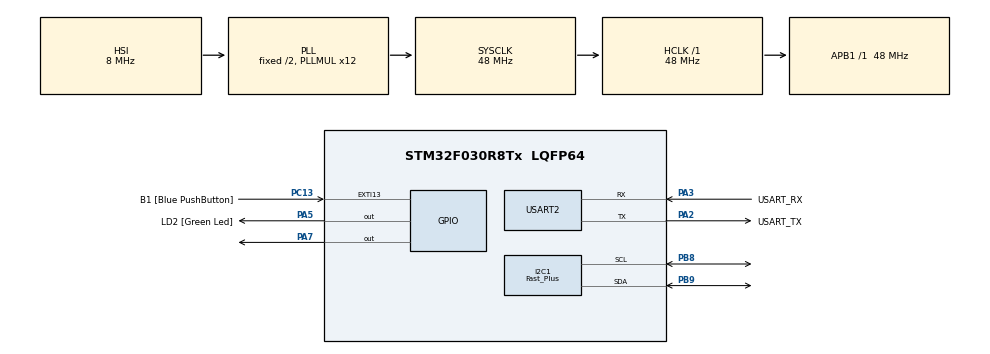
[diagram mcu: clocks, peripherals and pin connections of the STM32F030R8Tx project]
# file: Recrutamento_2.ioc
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Dma.I2C1_RX.1.Direction=DMA_PERIPH_TO_MEMORY
Dma.I2C1_RX.1.Instance=DMA1_Channel3
Dma.I2C1_RX.1.MemDataAlignment=DMA_MDATAALIGN_BYTE
Dma.I2C1_RX.1.MemInc=DMA_MINC_ENABLE
Dma.I2C1_RX.1.Mode=DMA_NORMAL
Dma.I2C1_RX.1.PeriphDataAlignment=DMA_PDATAALIGN_BYTE
Dma.I2C1_RX.1.PeriphInc=DMA_PINC_DISABLE
Dma.I2C1_RX.1.Priority=DMA_PRIORITY_LOW
Dma.Request0=USART2_TX
Dma.Request1=I2C1_RX
Dma.USART2_TX.0.Direction=DMA_MEMORY_TO_PERIPH
Dma.USART2_TX.0.Instance=DMA1_Channel4
Dma.USART2_TX.0.MemDataAlignment=DMA_MDATAALIGN_BYTE
Dma.USART2_TX.0.MemInc=DMA_MINC_ENABLE
Dma.USART2_TX.0.Mode=DMA_NORMAL
Dma.USART2_TX.0.PeriphDataAlignment=DMA_PDATAALIGN_BYTE
Dma.USART2_TX.0.PeriphInc=DMA_PINC_DISABLE
Dma.USART2_TX.0.Priority=DMA_PRIORITY_LOW
I2C1.I2C_Speed_Mode=I2C_Fast_Plus
I2C1.Timing=0x00000001
Mcu.Family=STM32F0
Mcu.Name=STM32F030R8Tx
Mcu.Package=LQFP64
NVIC.DMA1_Channel2_3_IRQn=true\:0\:0\:false\:false\:true\:false\:true\:true
NVIC.DMA1_Channel4_5_IRQn=true\:0\:0\:false\:false\:true\:false\:true\:true
PA13.GPIO_Label=TMS
PA13.Mode=Serial_Wire
PA13.Signal=SYS_SWDIO
PA14.GPIO_Label=TCK
PA14.Mode=Serial_Wire
PA14.Signal=SYS_SWCLK
PA2.GPIO_Label=USART_TX
PA2.GPIO_Mode=GPIO_MODE_AF_PP
PA2.GPIO_PuPd=GPIO_NOPULL
PA2.GPIO_Speed=GPIO_SPEED_FREQ_LOW
PA2.Mode=Asynchronous
PA2.Signal=USART2_TX
PA3.GPIO_Label=USART_RX
PA3.GPIO_Mode=GPIO_MODE_AF_PP
PA3.GPIO_PuPd=GPIO_NOPULL
PA3.GPIO_Speed=GPIO_SPEED_FREQ_LOW
PA3.Mode=Asynchronous
PA3.Signal=USART2_RX
PA5.GPIO_Label=LD2 [Green Led]
PA5.GPIO_Mode=GPIO_MODE_OUTPUT_PP
PA5.GPIO_PuPd=GPIO_NOPULL
PA5.GPIO_Speed=GPIO_SPEED_FREQ_LOW
PA5.Signal=GPIO_Output
PA7.Signal=GPIO_Output
PB8.Mode=I2C
PB8.Signal=I2C1_SCL
PB9.Mode=I2C
PB9.Signal=I2C1_SDA
PC13.GPIO_Label=B1 [Blue PushButton]
PC13.GPIO_ModeDefaultEXTI=GPIO_MODE_IT_FALLING
PC13.Signal=GPXTI13
PC14-OSC32_IN.Mode=LSE-External-Oscillator
PC14-OSC32_IN.Signal=RCC_OSC32_IN
PC15-OSC32_OUT.Mode=LSE-External-Oscillator
PC15-OSC32_OUT.Signal=RCC_OSC32_OUT
PF0-OSC_IN.Mode=HSE-External-Clock-Source
PF0-OSC_IN.Signal=RCC_OSC_IN
PF1-OSC_OUT.Signal=RCC_OSC_OUT
ProjectManager.HeapSize=0x200
ProjectManager.StackSize=0x400
ProjectManager.TargetToolchain=STM32CubeIDE
RCC.AHBFreq_Value=48000000
RCC.APB1Freq_Value=48000000
RCC.APB1TimFreq_Value=48000000
RCC.HCLKFreq_Value=48000000
RCC.PLLMUL=RCC_PLL_MUL12
RCC.SYSCLKFreq_VALUE=48000000
RCC.SYSCLKSource=RCC_SYSCLKSOURCE_PLLCLK
USART2.VirtualMode-Asynchronous=VM_ASYNC
board=NUCLEO-F030R8

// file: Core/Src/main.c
/* USER CODE BEGIN Header */
/**
  ******************************************************************************
  * @file           : main.c
  * @brief          : Main program body
  ******************************************************************************
  * @attention
  *
  * Copyright (c) 2024 STMicroelectronics.
  * All rights reserved.
  *
  * This software is licensed under terms that can be found in the LICENSE file
  * in the root directory of this software component.
  * If no LICENSE file comes with this software, it is provided AS-IS.
  *
  ******************************************************************************
  */
/* USER CODE END Header */
#include "main.h"
#include "dma.h"
#include "i2c.h"
#include "usart.h"
#include "gpio.h"

/* USER CODE BEGIN Includes */
#include "MS5607.h"
#include <string.h>
#include <stdio.h>
/* USER CODE END Includes */

/* USER CODE BEGIN PV */
extern DMA_HandleTypeDef hdma_usart2_tx;
extern DMA_HandleTypeDef hdma_i2c1_rx;
/* USER CODE END PV */

void SystemClock_Config(void);

/* USER CODE BEGIN 0 */
#ifdef __GNUC__
#define PUTCHAR_PROTOTYPE int __io_putchar(int ch)
#else
#define PUTCHAR_PROTOTYPE int fputc(int ch, FILE *f)
#endif
PUTCHAR_PROTOTYPE {
	HAL_UART_Transmit(&huart2, (uint8_t*) &ch, 1, HAL_MAX_DELAY);
	return ch;
}

void XferCpltCallback(DMA_HandleTypeDef *hdma);

/* USER CODE END 0 */

int main(void)
{

  /* MCU Configuration--------------------------------------------------------*/

  /* Reset of all peripherals, Initializes the Flash interface and the Systick. */
  HAL_Init();

  /* Configure the system clock */
  SystemClock_Config();

  /* Initialize all configured peripherals */
  MX_GPIO_Init();
  MX_DMA_Init();
  MX_USART2_UART_Init();
  MX_I2C1_Init();
  /* USER CODE BEGIN 2 */
  MS5607 BARO1 = BARO1_INIT();
  if(ms5607_init(&BARO1)==0) {
	  while(1) {
		  HAL_GPIO_TogglePin(GPIOA, GPIO_PIN_5);
		  HAL_Delay(100);
	  }
  }
  HAL_GPIO_WritePin(GPIOA, LD2_Pin|GPIO_PIN_7, GPIO_PIN_RESET);

  float p;
  float t;
  float raw_data[3] = {0, 0, 0};
  int prev_time;
  int i = 0;
  int j = 0;
  prev_time = HAL_GetTick();

  hdma_usart2_tx.XferCpltCallback=&XferCpltCallback;

  char buffer[1000] = {0};
  size_t buffer_length = 0;
  float t_initial = 0;

  char p_str[50];

  huart2.Instance->CR3 |= USART_CR3_DMAT;

  /* USER CODE END 2 */

  /* Infinite loop */
  /* USER CODE BEGIN WHILE */
  while (1)
  {
	  ms5607_prep_pressure(&BARO1, raw_data);
	  HAL_Delay(3);

	  ms5607_read_pressure(&BARO1, raw_data);
	  HAL_Delay(3);

	  ms5607_convert(&BARO1, &p, &t);

	  j++;
	  if (j == 100) {

		  if (t > t_initial + 0.5) {
			HAL_GPIO_WritePin(GPIOA, GPIO_PIN_5, GPIO_PIN_SET);
		  } else {
			HAL_GPIO_WritePin(GPIOA, GPIO_PIN_5, GPIO_PIN_RESET);
		  }
		  j = 0;
		  t_initial = t;
	  }

	  if (hdma_usart2_tx.State == HAL_DMA_STATE_READY)
	      HAL_DMA_Start_IT(&hdma_usart2_tx, (uint32_t)p_str, (uint32_t)&huart2.Instance->TDR, 35);

      sprintf(p_str, "p: %f, t: %f\r\n", p, t);

	  i++;
	  if (i == 10) {
		  printf("\n Frequencia: %d\r\n", 10000/(HAL_GetTick() - prev_time));
		  prev_time = HAL_GetTick();

		  i = 0;
	  }

    /* USER CODE END WHILE */

  }
}

void SystemClock_Config(void)
{
  RCC_OscInitTypeDef RCC_OscInitStruct = {0};
  RCC_ClkInitTypeDef RCC_ClkInitStruct = {0};
  RCC_PeriphCLKInitTypeDef PeriphClkInit = {0};

  /** Initializes the RCC Oscillators according to the specified parameters
  * in the RCC_OscInitTypeDef structure.
  */
  RCC_OscInitStruct.OscillatorType = RCC_OSCILLATORTYPE_HSI;
  RCC_OscInitStruct.HSIState = RCC_HSI_ON;
  RCC_OscInitStruct.HSICalibrationValue = RCC_HSICALIBRATION_DEFAULT;
  RCC_OscInitStruct.PLL.PLLState = RCC_PLL_ON;
  RCC_OscInitStruct.PLL.PLLSource = RCC_PLLSOURCE_HSI;
  RCC_OscInitStruct.PLL.PLLMUL = RCC_PLL_MUL12;
  RCC_OscInitStruct.PLL.PREDIV = RCC_PREDIV_DIV1;
  if (HAL_RCC_OscConfig(&RCC_OscInitStruct) != HAL_OK)
  {
    Error_Handler();
  }

  /** Initializes the CPU, AHB and APB buses clocks
  */
  RCC_ClkInitStruct.ClockType = RCC_CLOCKTYPE_HCLK|RCC_CLOCKTYPE_SYSCLK
                              |RCC_CLOCKTYPE_PCLK1;
  RCC_ClkInitStruct.SYSCLKSource = RCC_SYSCLKSOURCE_PLLCLK;
  RCC_ClkInitStruct.AHBCLKDivider = RCC_SYSCLK_DIV1;
  RCC_ClkInitStruct.APB1CLKDivider = RCC_HCLK_DIV1;

  if (HAL_RCC_ClockConfig(&RCC_ClkInitStruct, FLASH_LATENCY_1) != HAL_OK)
  {
    Error_Handler();
  }
  PeriphClkInit.PeriphClockSelection = RCC_PERIPHCLK_I2C1;
  PeriphClkInit.I2c1ClockSelection = RCC_I2C1CLKSOURCE_HSI;
  if (HAL_RCCEx_PeriphCLKConfig(&PeriphClkInit) != HAL_OK)
  {
    Error_Handler();
  }
}

/* USER CODE BEGIN 4 */
void XferCpltCallback(DMA_HandleTypeDef *hdma) {
}
/* USER CODE END 4 */

void Error_Handler(void)
{
  __disable_irq();
  while (1)
  {
  }
}
